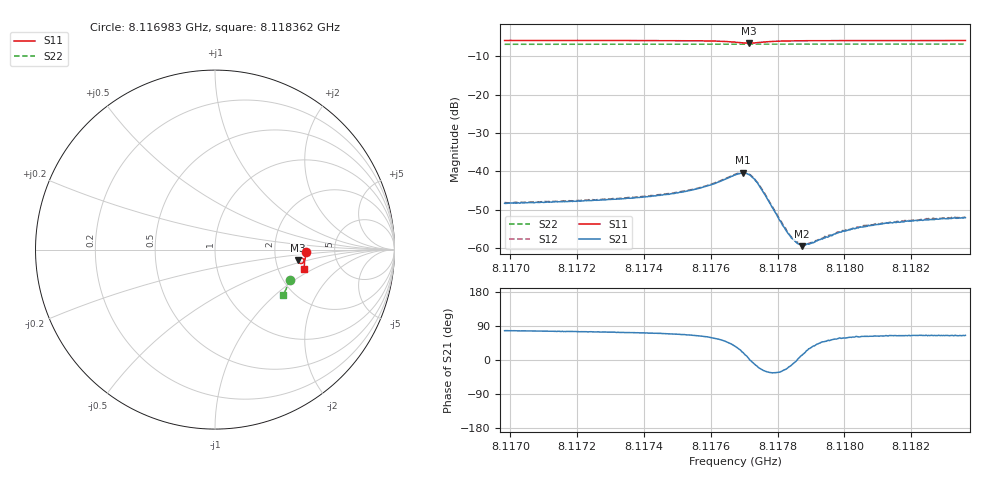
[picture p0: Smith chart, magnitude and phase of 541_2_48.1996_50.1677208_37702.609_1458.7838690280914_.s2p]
#  HZ  S  RI  R  50.00
! Rohde & Schwarz Vector Network Analyzer
! Rohde-Schwarz,ZNB20-2Port,1311601062101988,3.16
! Created: UTC 3/20/2024, 12:00:17 PM
! freq[Hz]  re:S11  im:S11  re:S21  im:S21  re:S12  im:S12  re:S22  im:S22
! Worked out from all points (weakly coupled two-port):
!   401 points, 8.116983 GHz to 8.118362 GHz, reference 50 ohm
!   highest |S21| = -40.42 dB at 8.117697 GHz (marker M1); lowest = -59.5 dB at 8.117872 GHz (marker M2)
!   lowest |S11| = -6.6 dB at 8.117714 GHz (marker M3), VSWR 2.75, Z = 134 - j20.6 ohm
!   |S11| at or under -10 dB: nowhere
!   |S22| runs from -6.9 to -6.8 dB; largest |S21 - S12| = 0.00026
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8.1169828e9  0.5063 -0.0144  0.000836 0.00372  0.000894 0.0038  0.4192 -0.1672
8.1172138e9  0.5051 -0.0329  0.00108 0.00395  0.00113 0.00404  0.4135 -0.1824
8.1174449e9  0.502 -0.053  0.00164 0.00455  0.00171 0.00464  0.4071 -0.1975
8.1175173e9  0.4997 -0.0606  0.00209 0.00496  0.00215 0.00504  0.405 -0.2022
8.117569e9  0.4967 -0.0668  0.00271 0.00541  0.00283 0.00545  0.4035 -0.2055
8.1176173e9  0.4912 -0.0734  0.00395 0.00587  0.00406 0.00598  0.4016 -0.2087
8.1176724e9  0.4754 -0.0773  0.0072 0.0053  0.00736 0.00536  0.3994 -0.2119
8.1176966e9  0.4657 -0.0702  0.00897 0.00323  0.00913 0.00314  0.3983 -0.213
8.1177138e9  0.4634 -0.06  0.00902 0.000605  0.00915 0.000616  0.3979 -0.2136
8.1177311e9  0.4681 -0.0505  0.00773 -0.0016  0.00779 -0.00156  0.3978 -0.2143
8.1177483e9  0.4762 -0.0464  0.00565 -0.00238  0.00578 -0.00249  0.3977 -0.2151
8.1178104e9  0.4941 -0.0541  0.00187 -0.0011  0.00194 -0.00111  0.3965 -0.2195
8.1178345e9  0.4964 -0.0584  0.00142 -0.00045  0.00143 -0.000499  0.3957 -0.221
8.1178518e9  0.4974 -0.0613  0.00123 -0.000123  0.00122 -9.77e-05  0.3953 -0.2221
8.1178725e9  0.4979 -0.0644  0.00103 0.000224  0.0011 0.000241  0.3947 -0.2237
8.1178862e9  0.4984 -0.0662  0.00102 0.000461  0.001 0.000441  0.3942 -0.2245
8.1179035e9  0.4986 -0.0684  0.000974 0.000674  0.000963 0.000645  0.3936 -0.2255
8.1179862e9  0.4986 -0.0775  0.000838 0.00137  0.000918 0.00134  0.391 -0.2307
8.1180621e9  0.4979 -0.0847  0.000884 0.00168  0.000931 0.00172  0.3884 -0.2357
8.1181345e9  0.4968 -0.0908  0.000914 0.00192  0.000967 0.00193  0.386 -0.24
8.1182449e9  0.4954 -0.0999  0.000956 0.00211  0.00101 0.00219  0.3821 -0.2468
8.1183621e9  0.4933 -0.109  0.00105 0.00224  0.00109 0.00226  0.3779 -0.2537
